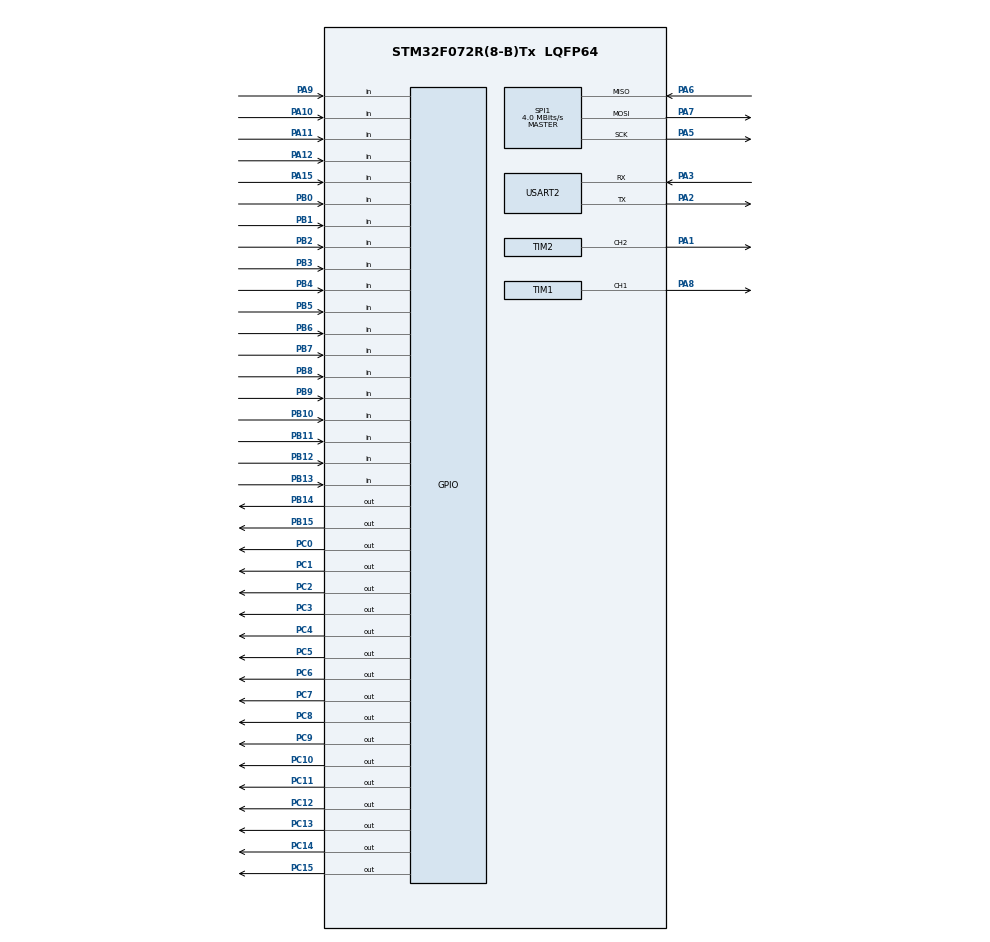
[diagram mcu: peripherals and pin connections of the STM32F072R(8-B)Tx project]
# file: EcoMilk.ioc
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Mcu.Family=STM32F0
Mcu.Name=STM32F072R(8-B)Tx
Mcu.Package=LQFP64
PA1.Signal=S_TIM2_CH2
PA10.Signal=GPIO_Input
PA11.Signal=GPIO_Input
PA12.Signal=GPIO_Input
PA15.Signal=GPIO_Input
PA2.Mode=Asynchronous
PA2.Signal=USART2_TX
PA3.Mode=Asynchronous
PA3.Signal=USART2_RX
PA5.Mode=Full_Duplex_Master
PA5.Signal=SPI1_SCK
PA6.Mode=Full_Duplex_Master
PA6.Signal=SPI1_MISO
PA7.Mode=Full_Duplex_Master
PA7.Signal=SPI1_MOSI
PA8.Signal=S_TIM1_CH1
PA9.Signal=GPIO_Input
PB0.Signal=GPIO_Input
PB1.Signal=GPIO_Input
PB10.Signal=GPIO_Input
PB11.Signal=GPIO_Input
PB12.Signal=GPIO_Input
PB13.Signal=GPIO_Input
PB14.Signal=GPIO_Output
PB15.Signal=GPIO_Output
PB2.Signal=GPIO_Input
PB3.Signal=GPIO_Input
PB4.Signal=GPIO_Input
PB5.Signal=GPIO_Input
PB6.Signal=GPIO_Input
PB7.Signal=GPIO_Input
PB8.Signal=GPIO_Input
PB9.Signal=GPIO_Input
PC0.Signal=GPIO_Output
PC1.Signal=GPIO_Output
PC10.Signal=GPIO_Output
PC11.Signal=GPIO_Output
PC12.Signal=GPIO_Output
PC13.Signal=GPIO_Output
PC14-OSC32_IN.Signal=GPIO_Output
PC15-OSC32_OUT.Signal=GPIO_Output
PC2.Signal=GPIO_Output
PC3.Signal=GPIO_Output
PC4.Signal=GPIO_Output
PC5.Signal=GPIO_Output
PC6.Signal=GPIO_Output
PC7.Signal=GPIO_Output
PC8.Signal=GPIO_Output
PC9.Signal=GPIO_Output
ProjectManager.HeapSize=0x200
ProjectManager.StackSize=0x400
ProjectManager.TargetToolchain=EWARM V8.32
SH.S_TIM1_CH1.0=TIM1_CH1,PWM Generation1 CH1
SH.S_TIM2_CH2.0=TIM2_CH2,PWM Generation2 CH2
SPI1.CalculateBaudRate=4.0 MBits/s
SPI1.Direction=SPI_DIRECTION_2LINES
SPI1.Mode=SPI_MODE_MASTER
SPI1.VirtualType=VM_MASTER
TIM1.Channel-PWM\ Generation1\ CH1=TIM_CHANNEL_1
TIM2.Channel-PWM\ Generation2\ CH2=TIM_CHANNEL_2
USART2.VirtualMode-Asynchronous=VM_ASYNC
board=custom

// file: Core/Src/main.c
/* USER CODE BEGIN Header */
/**
  ******************************************************************************
  * @file           : main.c
  * @brief          : Main program body
  ******************************************************************************
  * @attention
  *
  * <h2><center>&copy; Copyright (c) 2021 STMicroelectronics.
  * All rights reserved.</center></h2>
  *
  * This software component is licensed by ST under BSD 3-Clause license,
  * the "License"; You may not use this file except in compliance with the
  * License. You may obtain a copy of the License at:
  *                        opensource.org/licenses/BSD-3-Clause
  *
  ******************************************************************************
  */
/* USER CODE END Header */
#include "main.h"

/* USER CODE BEGIN PD */

// Inputs
#define REALIZE_BRAKES_PORT              GPIOA
#define MOTOR_Z_UP_PORT                  GPIOA
#define MOTOR_Z_DOWN_PORT                GPIOA
#define MOTOR_Z_LIMIT_UP_PORT            GPIOA
#define MOTOR_Z_LIMIT_DOWN_PORT          GPIOA
#define MOTOR_TILT_UP_PORT               GPIOB
#define MOTOR_TILT_DOWN_PORT             GPIOB
#define MOTOR_TILT_LIMIT_UP_PORT         GPIOB
#define MOTOR_TILT_LIMIT_DOWN_PORT       GPIOB
#define BRAKE_X_PORT                     GPIOB
#define BRAKE_ROTATE_PORT                GPIOB
#define BRAKE_SPARE_A_PORT               GPIOB
#define BRAKE_SPARE_B_PORT               GPIOB
#define BRAKE_SPARE_C_PORT               GPIOB
#define BRAKE_SPARE_D_PORT               GPIOB
#define END_AFFECTO_PORT                 GPIOB
#define NFAULT_GLOBAL_PORT               GPIOB
#define MOTOR_N_FORWARD_PORT             GPIOB
#define MOTOR_N_BACKWARD_PORT            GPIOB

#define REALIZE_BRAKES_PIN              GPIO_PIN_9
#define MOTOR_Z_UP_PIN                  GPIO_PIN_10
#define MOTOR_Z_DOWN_PIN                GPIO_PIN_11
#define MOTOR_Z_LIMIT_UP_PIN            GPIO_PIN_12
#define MOTOR_Z_LIMIT_DOWN_PIN          GPIO_PIN_15
#define MOTOR_TILT_UP_PIN               GPIO_PIN_0
#define MOTOR_TILT_DOWN_PIN             GPIO_PIN_1
#define MOTOR_TILT_LIMIT_UP_PIN         GPIO_PIN_2
#define MOTOR_TILT_LIMIT_DOWN_PIN       GPIO_PIN_3
#define BRAKE_X_PIN                     GPIO_PIN_4
#define BRAKE_ROTATE_PIN                GPIO_PIN_5
#define BRAKE_SPARE_A_PIN               GPIO_PIN_6
#define BRAKE_SPARE_B_PIN               GPIO_PIN_7
#define BRAKE_SPARE_C_PIN               GPIO_PIN_8
#define BRAKE_SPARE_D_PIN               GPIO_PIN_9
#define END_AFFECTO_PIN                 GPIO_PIN_10
#define NFAULT_GLOBAL_PIN               GPIO_PIN_11
#define MOTOR_N_FORWARD_PIN             GPIO_PIN_12
#define MOTOR_N_BACKWARD_PIN            GPIO_PIN_13

// Outputs
#define ENABLE_BRAKES_PORT       GPIOB
#define BRAKE_Z_ON_N_PORT        GPIOB
#define BRAKE_X_ON_N_PORT        GPIOC
#define BRAKE_TILT_ON_N_PORT     GPIOC
#define BRAKE_ROTATE_ON_PORT     GPIOC
#define BRAKE_SPARE_A_ON_PORT    GPIOC
#define BRAKE_SPARE_B_ON_PORT    GPIOC
#define BRAKE_SPARE_C_ON_PORT    GPIOC
#define BRAKE_SPARE_D_ON_PORT    GPIOC
#define MOTOR_Z_DIR_PORT         GPIOC
#define MOTOR_Z_ENABLE_PORT      GPIOC
#define MOTOR_TILT_DIR_PORT      GPIOC
#define MOTOR_TILT_ENABLE_PORT   GPIOC
#define END_AFFECTO_DIR_PORT     GPIOC
#define MOTOR_N_INA_PORT         GPIOC
#define MOTOR_N_INB_PORT         GPIOC
#define SPARE_ENABLE_A_PORT      GPIOC
#define SPARE_ENABLE_B_PORT      GPIOC

#define ENABLE_BRAKES_PIN       GPIO_PIN_14
#define BRAKE_Z_ON_N_PIN        GPIO_PIN_15
#define BRAKE_X_ON_N_PIN        GPIO_PIN_0
#define BRAKE_TILT_ON_N_PIN     GPIO_PIN_1
#define BRAKE_ROTATE_ON_PIN     GPIO_PIN_2
#define BRAKE_SPARE_A_ON_PIN    GPIO_PIN_3
#define BRAKE_SPARE_B_ON_PIN    GPIO_PIN_4
#define BRAKE_SPARE_C_ON_PIN    GPIO_PIN_5
#define BRAKE_SPARE_D_ON_PIN    GPIO_PIN_6
#define MOTOR_Z_DIR_PIN         GPIO_PIN_7
#define MOTOR_Z_ENABLE_PIN      GPIO_PIN_8
#define MOTOR_TILT_DIR_PIN      GPIO_PIN_9
#define MOTOR_TILT_ENABLE_PIN   GPIO_PIN_10
#define END_AFFECTO_DIR_PIN     GPIO_PIN_11
#define MOTOR_N_INA_PIN         GPIO_PIN_12
#define MOTOR_N_INB_PIN         GPIO_PIN_13
#define SPARE_ENABLE_A_PIN      GPIO_PIN_14
#define SPARE_ENABLE_B_PIN      GPIO_PIN_15

//#define Spare_enable_b_Pin GPIO_PIN_15
//#define Spare_enable_b_GPIO_Port GPIOC

/* USER CODE END PD */

SPI_HandleTypeDef hspi1;

TIM_HandleTypeDef htim1;
TIM_HandleTypeDef htim2;

UART_HandleTypeDef huart2;

void SystemClock_Config(void);
static void MX_GPIO_Init(void);
static void MX_SPI1_Init(void);
static void MX_TIM1_Init(void);
static void MX_TIM2_Init(void);
static void MX_USART2_UART_Init(void);

int main(void)
{

  /* MCU Configuration--------------------------------------------------------*/

  /* Reset of all peripherals, Initializes the Flash interface and the Systick. */
  HAL_Init();

  /* Configure the system clock */
  SystemClock_Config();

  /* Initialize all configured peripherals */
  MX_GPIO_Init();
  MX_SPI1_Init();
  MX_TIM1_Init();
  MX_TIM2_Init();
  MX_USART2_UART_Init();

  /* Infinite loop */
  while (1)
  {

    /* USER CODE BEGIN 3 */

    //Realize_brakes  = high 	Realize  all  brakes  	Enable_brakes_n	High= realize
    if(HAL_GPIO_ReadPin(REALIZE_BRAKES_PORT, REALIZE_BRAKES_PIN) == GPIO_PIN_SET)
      HAL_GPIO_WritePin(ENABLE_BRAKES_PORT, ENABLE_BRAKES_PIN, GPIO_PIN_SET);

    ////////////////////////////////////////////////////////////////////////////

    //Motor_z_up =H     Realize    brakes Z   Brake_z_on      Low  =  realize
    //                  Motor   Z  dir  = 1   Motor_Z_dir     High= up
    //                  Motor   Z  step pwm   Motor_Z_step    Pwm  1khz
    //                                        Motor_z_enable  Enable = high
    if(HAL_GPIO_ReadPin(MOTOR_Z_UP_PORT, MOTOR_Z_UP_PIN) == GPIO_PIN_SET)
    {
      HAL_GPIO_WritePin(BRAKE_Z_ON_N_PORT, BRAKE_Z_ON_N_PIN, GPIO_PIN_RESET);
      HAL_GPIO_WritePin(MOTOR_Z_DIR_PORT, MOTOR_Z_DIR_PIN, GPIO_PIN_SET);
      //HAL_TIMEx_PWMN_Start(&htim1, 1);
      HAL_TIMEx_OnePulseN_Start(&htim1, 1);
      HAL_GPIO_WritePin(MOTOR_Z_ENABLE_PORT, MOTOR_Z_ENABLE_PIN, GPIO_PIN_SET);
    }

    //Motor_z_down = H  Realize    brakes Z     Brake_z_on      Low  =  realize
    //                  Motor   Z  dir  = 0     Motor_Z _dir    low= down
    //                  Motor   Z  step pwm     Motor_Z _step   Pwm  1khz
    //                                          Motor _z_enable Enable = high
    if(HAL_GPIO_ReadPin(MOTOR_Z_DOWN_PORT, MOTOR_Z_DOWN_PIN) == GPIO_PIN_SET)
    {
      HAL_GPIO_WritePin(BRAKE_Z_ON_N_PORT, BRAKE_Z_ON_N_PIN, GPIO_PIN_RESET);
      HAL_GPIO_WritePin(MOTOR_Z_DIR_PORT, MOTOR_Z_DIR_PIN, GPIO_PIN_RESET);
      //HAL_TIMEx_PWMN_Start(&htim1, 1);
      HAL_TIMEx_OnePulseN_Start(&htim1, 1);
      HAL_GPIO_WritePin(MOTOR_Z_ENABLE_PORT, MOTOR_Z_ENABLE_PIN, GPIO_PIN_SET);
    }

    //Motor_z_up =low    Brake z  on    B Motor_Z _step  High  =  hold
    //Motor_z_down =low  Motor z  stop  brake_z_on       Low = stop
    //                                  Motor _z_enable  Disable = low
    if((HAL_GPIO_ReadPin(MOTOR_Z_UP_PORT, MOTOR_Z_UP_PIN) == GPIO_PIN_RESET) &&
       (HAL_GPIO_ReadPin(MOTOR_Z_DOWN_PORT, MOTOR_Z_DOWN_PIN) == GPIO_PIN_RESET))
    {
      HAL_TIMEx_PWMN_Start(&htim1, 1);
      HAL_GPIO_WritePin(BRAKE_Z_ON_N_PORT, BRAKE_Z_ON_N_PIN, GPIO_PIN_RESET);
      HAL_GPIO_WritePin(MOTOR_Z_ENABLE_PORT, MOTOR_Z_ENABLE_PIN, GPIO_PIN_RESET);
    }

    //Motor_z_limit_up = high   move up   Motor_z_enable  Disable = low
    //And  motor_z= up	Limit
    if((HAL_GPIO_ReadPin(MOTOR_Z_LIMIT_UP_PORT, MOTOR_Z_LIMIT_UP_PIN) == GPIO_PIN_SET) &&
       (HAL_GPIO_ReadPin(MOTOR_Z_UP_PORT, MOTOR_Z_UP_PIN) == GPIO_PIN_SET))
      HAL_GPIO_WritePin(MOTOR_Z_ENABLE_PORT, MOTOR_Z_ENABLE_PIN, GPIO_PIN_RESET);

    //Motor_z_limit_Down = high   Limit  move down      Motor_z_enable 	Disable = low
    //And  motor_z= down
    if((HAL_GPIO_ReadPin(MOTOR_Z_LIMIT_DOWN_PORT, MOTOR_Z_LIMIT_DOWN_PIN) == GPIO_PIN_SET) &&
       (HAL_GPIO_ReadPin(MOTOR_Z_UP_PORT, MOTOR_Z_UP_PIN) == GPIO_PIN_RESET))
      HAL_GPIO_WritePin(MOTOR_Z_ENABLE_PORT, MOTOR_Z_ENABLE_PIN, GPIO_PIN_RESET);

    ////////////////////////////////////////////////////////////////////////////

    //Motor_tilt_up =H	Realize    brakes  tilt 	        Brake_tilt_on 	       Low  =  realize
    //                             Motor   tilt  dir  = 1       Motor_tilt_dir         High= up
    //                             Motor   tilt  step     pwm	Motor_tilt_step        Pwm  1khz
    //                                                          Motor_tilt_enable      Enable=high
    if(HAL_GPIO_ReadPin(MOTOR_TILT_UP_PORT, MOTOR_TILT_UP_PIN) == GPIO_PIN_SET)
    {
      HAL_GPIO_WritePin(BRAKE_TILT_ON_N_PORT, BRAKE_TILT_ON_N_PIN, GPIO_PIN_RESET);
      HAL_GPIO_WritePin(MOTOR_TILT_DIR_PORT, MOTOR_TILT_DIR_PIN, GPIO_PIN_SET);
      HAL_TIMEx_OnePulseN_Start(&htim2, 1);
      HAL_GPIO_WritePin(MOTOR_TILT_ENABLE_PORT, MOTOR_TILT_ENABLE_PIN, GPIO_PIN_SET);
    }

    //Motor_tilt_down =H   Realize brakes  tilt        Brake_tiltz_on 	   Low  =  realize
    //                     Motor   tilt  dir  = 0      Motor_tilt_dir      low= down
    //                     Motor   tilt  step  pwm     Motor_tilt_step     Pwm  1khz
    //                                                 Motor_tilt_enable   Enable = high
    if(HAL_GPIO_ReadPin(MOTOR_TILT_DOWN_PORT, MOTOR_TILT_DOWN_PIN) == GPIO_PIN_SET)
    {
      HAL_GPIO_WritePin(BRAKE_TILT_ON_N_PORT, BRAKE_TILT_ON_N_PIN, GPIO_PIN_RESET);
      HAL_GPIO_WritePin(MOTOR_TILT_DIR_PORT, MOTOR_TILT_DIR_PIN, GPIO_PIN_RESET);
      HAL_TIMEx_OnePulseN_Start(&htim2, 1);
      HAL_GPIO_WritePin(MOTOR_TILT_ENABLE_PORT, MOTOR_TILT_ENABLE_PIN, GPIO_PIN_SET);
    }

    //Motor_tilt_up =low     Brake tilt  on    Motor_tilt_step     High  =  hold
    //Motor_tilt_down =low   Motor tilt stop   brake_tilt_on       Low = stop
    //                                         Motor_tilt_enable   Disable= low
    if((HAL_GPIO_ReadPin(MOTOR_TILT_UP_PORT, MOTOR_TILT_UP_PIN) == GPIO_PIN_RESET) &&
       (HAL_GPIO_ReadPin(MOTOR_TILT_DOWN_PORT, MOTOR_TILT_DOWN_PIN) == GPIO_PIN_RESET))
    {
      HAL_TIMEx_PWMN_Start(&htim2, 1);
      HAL_GPIO_WritePin(BRAKE_TILT_ON_N_PORT, BRAKE_TILT_ON_N_PIN, GPIO_PIN_RESET);
      HAL_GPIO_WritePin(MOTOR_TILT_ENABLE_PORT, MOTOR_TILT_ENABLE_PIN, GPIO_PIN_RESET);
    }

    //Motor_tilt_limit_up = high        Limit  move up 	Motor_tilt_enable	Disable= low
    //And  motor_tilt= up
    if((HAL_GPIO_ReadPin(MOTOR_TILT_LIMIT_UP_PORT, MOTOR_TILT_LIMIT_UP_PIN) == GPIO_PIN_SET) &&
       (HAL_GPIO_ReadPin(MOTOR_TILT_UP_PORT, MOTOR_TILT_UP_PIN) == GPIO_PIN_SET))
      HAL_GPIO_WritePin(MOTOR_TILT_ENABLE_PORT, MOTOR_TILT_ENABLE_PIN, GPIO_PIN_RESET);

    //Motor_tilit_limit_Down = high   Limit  move down	Motor_tilt_enable	Disable= low
    //And  motor_tilt= down
    if((HAL_GPIO_ReadPin(MOTOR_TILT_LIMIT_DOWN_PORT, MOTOR_TILT_LIMIT_DOWN_PIN) == GPIO_PIN_SET) &&
       (HAL_GPIO_ReadPin(MOTOR_TILT_DOWN_PORT, MOTOR_TILT_DOWN_PIN) == GPIO_PIN_RESET))
      HAL_GPIO_WritePin(MOTOR_TILT_ENABLE_PORT, MOTOR_TILT_ENABLE_PIN, GPIO_PIN_RESET);

    ////////////////////////////////////////////////////////////////////////////

    //Brake_X = H   Realize    brakes  X	Brake_x_on 	 Low  =  realize
    if(HAL_GPIO_ReadPin(BRAKE_X_PORT, BRAKE_X_PIN) == GPIO_PIN_SET)
      HAL_GPIO_WritePin(BRAKE_X_ON_N_PORT, BRAKE_X_ON_N_PIN, GPIO_PIN_RESET);

    //Brake_X = Low   brakes  X	Brake_x_on	High  =  hold
    if(HAL_GPIO_ReadPin(BRAKE_X_PORT, BRAKE_X_PIN) == GPIO_PIN_RESET)
      HAL_GPIO_WritePin(BRAKE_X_ON_N_PORT, BRAKE_X_ON_N_PIN, GPIO_PIN_SET);

    ////////////////////////////////////////////////////////////////////////////

    //Brake_rotate = H    Realize    brakes  X	Brake_x_on 	 Low  =  realize
    if(HAL_GPIO_ReadPin(BRAKE_ROTATE_PORT, BRAKE_ROTATE_PIN) == GPIO_PIN_SET)
      HAL_GPIO_WritePin(BRAKE_X_ON_N_PORT, BRAKE_X_ON_N_PIN, GPIO_PIN_RESET);

    //Brake_ rotate = Low Brakes  X on	Brake_x_on	High  =  hold
    if(HAL_GPIO_ReadPin(BRAKE_ROTATE_PORT, BRAKE_ROTATE_PIN) == GPIO_PIN_RESET)
      HAL_GPIO_WritePin(BRAKE_X_ON_N_PORT, BRAKE_X_ON_N_PIN, GPIO_PIN_SET);

    ////////////////////////////////////////////////////////////////////////////

    //End_affecto = high   End_affecto move  in one direction	End_affecto_dir   High  = out
    //                                                                            Low = in
    if(HAL_GPIO_ReadPin(END_AFFECTO_PORT, END_AFFECTO_PIN) == GPIO_PIN_RESET)
      HAL_GPIO_WritePin(END_AFFECTO_DIR_PORT, END_AFFECTO_DIR_PIN, GPIO_PIN_SET);

    ////////////////////////////////////////////////////////////////////////////

    //Motor_n_forward=HIGH	Move  motor N forward 	Motor_n_ina  Motor_n_ina = 1
    //                                                  Motor_n_inb  Motor_n_inb=0
    if(HAL_GPIO_ReadPin(MOTOR_N_FORWARD_PORT, MOTOR_N_FORWARD_PIN) == GPIO_PIN_SET)
    {
      HAL_GPIO_WritePin(MOTOR_N_INA_PORT, MOTOR_N_INA_PIN, GPIO_PIN_SET);
      HAL_GPIO_WritePin(MOTOR_N_INB_PORT, MOTOR_N_INB_PIN, GPIO_PIN_RESET);
    }

    //Motor_n_backward=HIGH	Move  motor N backward 	Motor_n_ina   Motor_n_ina = 0
    //                                                  Motor_n_inb   Motor_n_inb=1
    if(HAL_GPIO_ReadPin(MOTOR_N_BACKWARD_PORT, MOTOR_N_BACKWARD_PIN) == GPIO_PIN_SET)
    {
      HAL_GPIO_WritePin(MOTOR_N_INA_PORT, MOTOR_N_INA_PIN, GPIO_PIN_RESET);
      HAL_GPIO_WritePin(MOTOR_N_INB_PORT, MOTOR_N_INB_PIN, GPIO_PIN_SET);
    }

    //Motor_n_forward=Low   Motor n  stop   Motor_n_ina   Motor_n_ina = 0
    //Motor_n_backward=Low	            Motor_n_inb   Motor_n_inb=0
    if((HAL_GPIO_ReadPin(MOTOR_N_FORWARD_PORT, MOTOR_N_FORWARD_PIN) == GPIO_PIN_RESET) &&
      (HAL_GPIO_ReadPin(MOTOR_N_BACKWARD_PORT, MOTOR_N_BACKWARD_PIN) == GPIO_PIN_RESET))
    {
      HAL_GPIO_WritePin(MOTOR_N_INA_PORT, MOTOR_N_INA_PIN, GPIO_PIN_RESET);
      HAL_GPIO_WritePin(MOTOR_N_INB_PORT, MOTOR_N_INB_PIN, GPIO_PIN_RESET);
    }

    //
  }
  /* USER CODE END 3 */
}

void SystemClock_Config(void)
{
  RCC_OscInitTypeDef RCC_OscInitStruct = {0};
  RCC_ClkInitTypeDef RCC_ClkInitStruct = {0};
  RCC_PeriphCLKInitTypeDef PeriphClkInit = {0};

  /** Initializes the RCC Oscillators according to the specified parameters
  * in the RCC_OscInitTypeDef structure.
  */
  RCC_OscInitStruct.OscillatorType = RCC_OSCILLATORTYPE_HSI;
  RCC_OscInitStruct.HSIState = RCC_HSI_ON;
  RCC_OscInitStruct.HSICalibrationValue = RCC_HSICALIBRATION_DEFAULT;
  RCC_OscInitStruct.PLL.PLLState = RCC_PLL_NONE;
  if (HAL_RCC_OscConfig(&RCC_OscInitStruct) != HAL_OK)
  {
    Error_Handler();
  }
  /** Initializes the CPU, AHB and APB buses clocks
  */
  RCC_ClkInitStruct.ClockType = RCC_CLOCKTYPE_HCLK|RCC_CLOCKTYPE_SYSCLK
                              |RCC_CLOCKTYPE_PCLK1;
  RCC_ClkInitStruct.SYSCLKSource = RCC_SYSCLKSOURCE_HSI;
  RCC_ClkInitStruct.AHBCLKDivider = RCC_SYSCLK_DIV1;
  RCC_ClkInitStruct.APB1CLKDivider = RCC_HCLK_DIV1;

  if (HAL_RCC_ClockConfig(&RCC_ClkInitStruct, FLASH_LATENCY_0) != HAL_OK)
  {
    Error_Handler();
  }
  PeriphClkInit.PeriphClockSelection = RCC_PERIPHCLK_USART2;
  PeriphClkInit.Usart2ClockSelection = RCC_USART2CLKSOURCE_PCLK1;
  if (HAL_RCCEx_PeriphCLKConfig(&PeriphClkInit) != HAL_OK)
  {
    Error_Handler();
  }
}

static void MX_SPI1_Init(void)
{

  /* SPI1 parameter configuration*/
  hspi1.Instance = SPI1;
  hspi1.Init.Mode = SPI_MODE_MASTER;
  hspi1.Init.Direction = SPI_DIRECTION_2LINES;
  hspi1.Init.DataSize = SPI_DATASIZE_4BIT;
  hspi1.Init.CLKPolarity = SPI_POLARITY_LOW;
  hspi1.Init.CLKPhase = SPI_PHASE_1EDGE;
  hspi1.Init.NSS = SPI_NSS_SOFT;
  hspi1.Init.BaudRatePrescaler = SPI_BAUDRATEPRESCALER_2;
  hspi1.Init.FirstBit = SPI_FIRSTBIT_MSB;
  hspi1.Init.TIMode = SPI_TIMODE_DISABLE;
  hspi1.Init.CRCCalculation = SPI_CRCCALCULATION_DISABLE;
  hspi1.Init.CRCPolynomial = 7;
  hspi1.Init.CRCLength = SPI_CRC_LENGTH_DATASIZE;
  hspi1.Init.NSSPMode = SPI_NSS_PULSE_ENABLE;
  if (HAL_SPI_Init(&hspi1) != HAL_OK)
  {
    Error_Handler();
  }

}

static void MX_TIM1_Init(void)
{

  TIM_MasterConfigTypeDef sMasterConfig = {0};
  TIM_OC_InitTypeDef sConfigOC = {0};
  TIM_BreakDeadTimeConfigTypeDef sBreakDeadTimeConfig = {0};

  htim1.Instance = TIM1;
  htim1.Init.Prescaler = 0;
  htim1.Init.CounterMode = TIM_COUNTERMODE_UP;
  htim1.Init.Period = 65535;
  htim1.Init.ClockDivision = TIM_CLOCKDIVISION_DIV1;
  htim1.Init.RepetitionCounter = 0;
  htim1.Init.AutoReloadPreload = TIM_AUTORELOAD_PRELOAD_DISABLE;
  if (HAL_TIM_PWM_Init(&htim1) != HAL_OK)
  {
    Error_Handler();
  }
  sMasterConfig.MasterOutputTrigger = TIM_TRGO_RESET;
  sMasterConfig.MasterSlaveMode = TIM_MASTERSLAVEMODE_DISABLE;
  if (HAL_TIMEx_MasterConfigSynchronization(&htim1, &sMasterConfig) != HAL_OK)
  {
    Error_Handler();
  }
  sConfigOC.OCMode = TIM_OCMODE_PWM1;
  sConfigOC.Pulse = 1000;
  sConfigOC.OCPolarity = TIM_OCPOLARITY_HIGH;
  sConfigOC.OCNPolarity = TIM_OCNPOLARITY_HIGH;
  sConfigOC.OCFastMode = TIM_OCFAST_DISABLE;
  sConfigOC.OCIdleState = TIM_OCIDLESTATE_RESET;
  sConfigOC.OCNIdleState = TIM_OCNIDLESTATE_RESET;
  if (HAL_TIM_PWM_ConfigChannel(&htim1, &sConfigOC, TIM_CHANNEL_1) != HAL_OK)
  {
    Error_Handler();
  }
  sBreakDeadTimeConfig.OffStateRunMode = TIM_OSSR_DISABLE;
  sBreakDeadTimeConfig.OffStateIDLEMode = TIM_OSSI_DISABLE;
  sBreakDeadTimeConfig.LockLevel = TIM_LOCKLEVEL_OFF;
  sBreakDeadTimeConfig.DeadTime = 0;
  sBreakDeadTimeConfig.BreakState = TIM_BREAK_DISABLE;
  sBreakDeadTimeConfig.BreakPolarity = TIM_BREAKPOLARITY_HIGH;
  sBreakDeadTimeConfig.AutomaticOutput = TIM_AUTOMATICOUTPUT_DISABLE;
  if (HAL_TIMEx_ConfigBreakDeadTime(&htim1, &sBreakDeadTimeConfig) != HAL_OK)
  {
    Error_Handler();
  }
  HAL_TIM_MspPostInit(&htim1);

}

static void MX_TIM2_Init(void)
{

  TIM_MasterConfigTypeDef sMasterConfig = {0};
  TIM_OC_InitTypeDef sConfigOC = {0};

  htim2.Instance = TIM2;
  htim2.Init.Prescaler = 0;
  htim2.Init.CounterMode = TIM_COUNTERMODE_UP;
  htim2.Init.Period = 4294967295;
  htim2.Init.ClockDivision = TIM_CLOCKDIVISION_DIV1;
  htim2.Init.AutoReloadPreload = TIM_AUTORELOAD_PRELOAD_DISABLE;
  if (HAL_TIM_PWM_Init(&htim2) != HAL_OK)
  {
    Error_Handler();
  }
  sMasterConfig.MasterOutputTrigger = TIM_TRGO_RESET;
  sMasterConfig.MasterSlaveMode = TIM_MASTERSLAVEMODE_DISABLE;
  if (HAL_TIMEx_MasterConfigSynchronization(&htim2, &sMasterConfig) != HAL_OK)
  {
    Error_Handler();
  }
  sConfigOC.OCMode = TIM_OCMODE_PWM1;
  sConfigOC.Pulse = 1000;
  sConfigOC.OCPolarity = TIM_OCPOLARITY_HIGH;
  sConfigOC.OCFastMode = TIM_OCFAST_DISABLE;
  if (HAL_TIM_PWM_ConfigChannel(&htim2, &sConfigOC, TIM_CHANNEL_2) != HAL_OK)
  {
    Error_Handler();
  }
  HAL_TIM_MspPostInit(&htim2);

}

static void MX_USART2_UART_Init(void)
{

  huart2.Instance = USART2;
  huart2.Init.BaudRate = 38400;
  huart2.Init.WordLength = UART_WORDLENGTH_8B;
  huart2.Init.StopBits = UART_STOPBITS_1;
  huart2.Init.Parity = UART_PARITY_NONE;
  huart2.Init.Mode = UART_MODE_TX_RX;
  huart2.Init.HwFlowCtl = UART_HWCONTROL_NONE;
  huart2.Init.OverSampling = UART_OVERSAMPLING_16;
  huart2.Init.OneBitSampling = UART_ONE_BIT_SAMPLE_DISABLE;
  huart2.AdvancedInit.AdvFeatureInit = UART_ADVFEATURE_NO_INIT;
  if (HAL_UART_Init(&huart2) != HAL_OK)
  {
    Error_Handler();
  }

}

static void MX_GPIO_Init(void)
{
  GPIO_InitTypeDef GPIO_InitStruct = {0};

  /* GPIO Ports Clock Enable */
  __HAL_RCC_GPIOC_CLK_ENABLE();
  __HAL_RCC_GPIOA_CLK_ENABLE();
  __HAL_RCC_GPIOB_CLK_ENABLE();

  /*Configure GPIO pin Output Level */
  HAL_GPIO_WritePin(GPIOC, GPIO_PIN_13|GPIO_PIN_14|GPIO_PIN_15|GPIO_PIN_0
                          |GPIO_PIN_1|GPIO_PIN_2|GPIO_PIN_3|GPIO_PIN_4
                          |GPIO_PIN_5|GPIO_PIN_6|GPIO_PIN_7|GPIO_PIN_8
                          |GPIO_PIN_9|GPIO_PIN_10|GPIO_PIN_11|GPIO_PIN_12, GPIO_PIN_RESET);

  /*Configure GPIO pin Output Level */
  HAL_GPIO_WritePin(GPIOB, GPIO_PIN_14|GPIO_PIN_15, GPIO_PIN_RESET);

  /*Configure GPIO pins : PC13 PC14 PC15 PC0
                           PC1 PC2 PC3 PC4
                           PC5 PC6 PC7 PC8
                           PC9 PC10 PC11 PC12 */
  GPIO_InitStruct.Pin = GPIO_PIN_13|GPIO_PIN_14|GPIO_PIN_15|GPIO_PIN_0
                          |GPIO_PIN_1|GPIO_PIN_2|GPIO_PIN_3|GPIO_PIN_4
                          |GPIO_PIN_5|GPIO_PIN_6|GPIO_PIN_7|GPIO_PIN_8
                          |GPIO_PIN_9|GPIO_PIN_10|GPIO_PIN_11|GPIO_PIN_12;
  GPIO_InitStruct.Mode = GPIO_MODE_OUTPUT_PP;
  GPIO_InitStruct.Pull = GPIO_NOPULL;
  GPIO_InitStruct.Speed = GPIO_SPEED_FREQ_LOW;
  HAL_GPIO_Init(GPIOC, &GPIO_InitStruct);

  /*Configure GPIO pins : PB0 PB1 PB2 PB10
                           PB11 PB12 PB13 PB3
                           PB4 PB5 PB6 PB7
                           PB8 PB9 */
  GPIO_InitStruct.Pin = GPIO_PIN_0|GPIO_PIN_1|GPIO_PIN_2|GPIO_PIN_10
                          |GPIO_PIN_11|GPIO_PIN_12|GPIO_PIN_13|GPIO_PIN_3
                          |GPIO_PIN_4|GPIO_PIN_5|GPIO_PIN_6|GPIO_PIN_7
                          |GPIO_PIN_8|GPIO_PIN_9;
  GPIO_InitStruct.Mode = GPIO_MODE_INPUT;
  GPIO_InitStruct.Pull = GPIO_NOPULL;
  HAL_GPIO_Init(GPIOB, &GPIO_InitStruct);

  /*Configure GPIO pins : PB14 PB15 */
  GPIO_InitStruct.Pin = GPIO_PIN_14|GPIO_PIN_15;
  GPIO_InitStruct.Mode = GPIO_MODE_OUTPUT_PP;
  GPIO_InitStruct.Pull = GPIO_NOPULL;
  GPIO_InitStruct.Speed = GPIO_SPEED_FREQ_LOW;
  HAL_GPIO_Init(GPIOB, &GPIO_InitStruct);

  /*Configure GPIO pins : PA9 PA10 PA11 PA12
                           PA15 */
  GPIO_InitStruct.Pin = GPIO_PIN_9|GPIO_PIN_10|GPIO_PIN_11|GPIO_PIN_12
                          |GPIO_PIN_15;
  GPIO_InitStruct.Mode = GPIO_MODE_INPUT;
  GPIO_InitStruct.Pull = GPIO_NOPULL;
  HAL_GPIO_Init(GPIOA, &GPIO_InitStruct);

}

void Error_Handler(void)
{
  __disable_irq();
  while (1)
  {
  }
}

/************************ (C) COPYRIGHT STMicroelectronics *****END OF FILE****/
